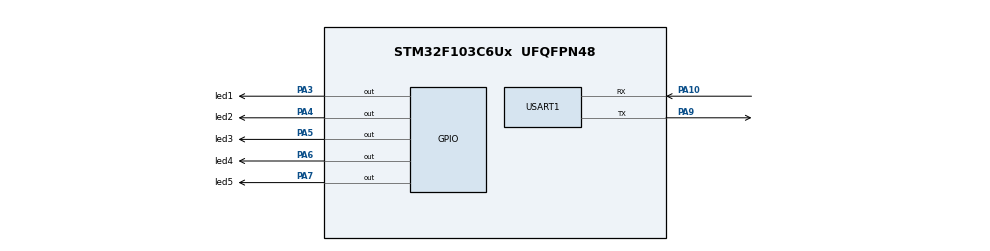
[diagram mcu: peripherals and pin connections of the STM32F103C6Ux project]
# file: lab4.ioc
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Mcu.Family=STM32F1
Mcu.Name=STM32F103C6Ux
Mcu.Package=UFQFPN48
NVIC.PriorityGroup=NVIC_PRIORITYGROUP_4
NVIC.TIM2_IRQn=true\:0\:0\:false\:false\:true\:true\:true
PA10.Mode=Asynchronous
PA10.Signal=USART1_RX
PA3.GPIO_Label=led1
PA3.Signal=GPIO_Output
PA4.GPIO_Label=led2
PA4.Signal=GPIO_Output
PA5.GPIO_Label=led3
PA5.Signal=GPIO_Output
PA6.GPIO_Label=led4
PA6.Signal=GPIO_Output
PA7.GPIO_Label=led5
PA7.Signal=GPIO_Output
PA9.Mode=Asynchronous
PA9.Signal=USART1_TX
ProjectManager.HeapSize=0x200
ProjectManager.StackSize=0x400
ProjectManager.TargetToolchain=STM32CubeIDE
RCC.APB1Freq_Value=8000000
RCC.APB2Freq_Value=8000000
TIM2.Period=9
TIM2.Prescaler=7999
USART1.VirtualMode=VM_ASYNC
VP_SYS_VS_ND.Mode=No_Debug
VP_TIM2_VS_ClockSourceINT.Mode=Internal
board=custom

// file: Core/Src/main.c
/* USER CODE BEGIN Header */
/**
  ******************************************************************************
  * @file           : main.c
  * @brief          : Main program body
  ******************************************************************************
  * @attention
  *
  * <h2><center>&copy; Copyright (c) 2026 STMicroelectronics.
  * All rights reserved.</center></h2>
  *
  * This software component is licensed by ST under BSD 3-Clause license,
  * the "License"; You may not use this file except in compliance with the
  * License. You may obtain a copy of the License at:
  *                        opensource.org/licenses/BSD-3-Clause
  *
  ******************************************************************************
  */
/* USER CODE END Header */
#include "main.h"

/* USER CODE BEGIN Includes */
#include "scheduler.h"
#include <stdio.h>
#include <string.h>
/* USER CODE END Includes */

TIM_HandleTypeDef htim2;

UART_HandleTypeDef huart1;

/* USER CODE BEGIN PV */
volatile uint32_t system_time_ms = 0;
/* USER CODE END PV */

void SystemClock_Config(void);
static void MX_GPIO_Init(void);
static void MX_TIM2_Init(void);
static void MX_USART1_UART_Init(void);

/* USER CODE BEGIN 0 */
uint32_t get_time(void) {
    return system_time_ms;
}

void UART_Print_Task(const char *name) {
    char buf[48];
    int len = snprintf(buf, sizeof(buf), "[%lu ms] %s\r\n", get_time(), name);
    HAL_UART_Transmit(&huart1, (uint8_t *)buf, len, 10);
}

void Task_500ms(void)  { HAL_GPIO_TogglePin(GPIOA, led1_Pin); UART_Print_Task("Task 0.5s"); }
void Task_1000ms(void) { HAL_GPIO_TogglePin(GPIOA, led2_Pin); UART_Print_Task("Task 1.0s"); }
void Task_1500ms(void) { HAL_GPIO_TogglePin(GPIOA, led3_Pin); UART_Print_Task("Task 1.5s"); }
void Task_2000ms(void) { HAL_GPIO_TogglePin(GPIOA, led4_Pin); UART_Print_Task("Task 2.0s"); }
void Task_2500ms(void) { HAL_GPIO_TogglePin(GPIOA, led5_Pin); UART_Print_Task("Task 2.5s"); }
/* USER CODE END 0 */

int main(void)
{

  /* MCU Configuration--------------------------------------------------------*/

  /* Reset of all peripherals, Initializes the Flash interface and the Systick. */
  HAL_Init();

  /* Configure the system clock */
  SystemClock_Config();

  /* Initialize all configured peripherals */
  MX_GPIO_Init();
  MX_TIM2_Init();
  MX_USART1_UART_Init();
  /* USER CODE BEGIN 2 */
  SCH_Init();
  SCH_Add_Task(Task_500ms,  50,  50);
  SCH_Add_Task(Task_1000ms, 100, 100);
  SCH_Add_Task(Task_1500ms, 150, 150);
  SCH_Add_Task(Task_2000ms, 200, 200);
  SCH_Add_Task(Task_2500ms, 250, 250);

  HAL_TIM_Base_Start_IT(&htim2);
  /* USER CODE END 2 */

  /* Infinite loop */
  while (1)
  {

    /* USER CODE BEGIN 3 */
	  SCH_Dispatch_Tasks();
  }
  /* USER CODE END 3 */
}

void SystemClock_Config(void)
{
  RCC_OscInitTypeDef RCC_OscInitStruct = {0};
  RCC_ClkInitTypeDef RCC_ClkInitStruct = {0};

  /** Initializes the RCC Oscillators according to the specified parameters
  * in the RCC_OscInitTypeDef structure.
  */
  RCC_OscInitStruct.OscillatorType = RCC_OSCILLATORTYPE_HSI;
  RCC_OscInitStruct.HSIState = RCC_HSI_ON;
  RCC_OscInitStruct.HSICalibrationValue = RCC_HSICALIBRATION_DEFAULT;
  RCC_OscInitStruct.PLL.PLLState = RCC_PLL_NONE;
  if (HAL_RCC_OscConfig(&RCC_OscInitStruct) != HAL_OK)
  {
    Error_Handler();
  }
  /** Initializes the CPU, AHB and APB buses clocks
  */
  RCC_ClkInitStruct.ClockType = RCC_CLOCKTYPE_HCLK|RCC_CLOCKTYPE_SYSCLK
                              |RCC_CLOCKTYPE_PCLK1|RCC_CLOCKTYPE_PCLK2;
  RCC_ClkInitStruct.SYSCLKSource = RCC_SYSCLKSOURCE_HSI;
  RCC_ClkInitStruct.AHBCLKDivider = RCC_SYSCLK_DIV1;
  RCC_ClkInitStruct.APB1CLKDivider = RCC_HCLK_DIV1;
  RCC_ClkInitStruct.APB2CLKDivider = RCC_HCLK_DIV1;

  if (HAL_RCC_ClockConfig(&RCC_ClkInitStruct, FLASH_LATENCY_0) != HAL_OK)
  {
    Error_Handler();
  }
}

static void MX_TIM2_Init(void)
{

  TIM_ClockConfigTypeDef sClockSourceConfig = {0};
  TIM_MasterConfigTypeDef sMasterConfig = {0};

  htim2.Instance = TIM2;
  htim2.Init.Prescaler = 7999;
  htim2.Init.CounterMode = TIM_COUNTERMODE_UP;
  htim2.Init.Period = 9;
  htim2.Init.ClockDivision = TIM_CLOCKDIVISION_DIV1;
  htim2.Init.AutoReloadPreload = TIM_AUTORELOAD_PRELOAD_DISABLE;
  if (HAL_TIM_Base_Init(&htim2) != HAL_OK)
  {
    Error_Handler();
  }
  sClockSourceConfig.ClockSource = TIM_CLOCKSOURCE_INTERNAL;
  if (HAL_TIM_ConfigClockSource(&htim2, &sClockSourceConfig) != HAL_OK)
  {
    Error_Handler();
  }
  sMasterConfig.MasterOutputTrigger = TIM_TRGO_RESET;
  sMasterConfig.MasterSlaveMode = TIM_MASTERSLAVEMODE_DISABLE;
  if (HAL_TIMEx_MasterConfigSynchronization(&htim2, &sMasterConfig) != HAL_OK)
  {
    Error_Handler();
  }

}

static void MX_USART1_UART_Init(void)
{

  huart1.Instance = USART1;
  huart1.Init.BaudRate = 115200;
  huart1.Init.WordLength = UART_WORDLENGTH_8B;
  huart1.Init.StopBits = UART_STOPBITS_1;
  huart1.Init.Parity = UART_PARITY_NONE;
  huart1.Init.Mode = UART_MODE_TX_RX;
  huart1.Init.HwFlowCtl = UART_HWCONTROL_NONE;
  huart1.Init.OverSampling = UART_OVERSAMPLING_16;
  if (HAL_UART_Init(&huart1) != HAL_OK)
  {
    Error_Handler();
  }

}

static void MX_GPIO_Init(void)
{
  GPIO_InitTypeDef GPIO_InitStruct = {0};

  /* GPIO Ports Clock Enable */
  __HAL_RCC_GPIOA_CLK_ENABLE();

  /*Configure GPIO pin Output Level */
  HAL_GPIO_WritePin(GPIOA, led1_Pin|led2_Pin|led3_Pin|led4_Pin
                          |led5_Pin, GPIO_PIN_RESET);

  /*Configure GPIO pins : led1_Pin led2_Pin led3_Pin led4_Pin
                           led5_Pin */
  GPIO_InitStruct.Pin = led1_Pin|led2_Pin|led3_Pin|led4_Pin
                          |led5_Pin;
  GPIO_InitStruct.Mode = GPIO_MODE_OUTPUT_PP;
  GPIO_InitStruct.Pull = GPIO_NOPULL;
  GPIO_InitStruct.Speed = GPIO_SPEED_FREQ_LOW;
  HAL_GPIO_Init(GPIOA, &GPIO_InitStruct);

}

/* USER CODE BEGIN 4 */
void HAL_TIM_PeriodElapsedCallback(TIM_HandleTypeDef *htim) {
    if (htim->Instance == TIM2) {
    	system_time_ms += TICK_MS;
        SCH_Update();
    }
}
/* USER CODE END 4 */

void Error_Handler(void)
{
  __disable_irq();
  while (1)
  {
  }
}

/************************ (C) COPYRIGHT STMicroelectronics *****END OF FILE****/
